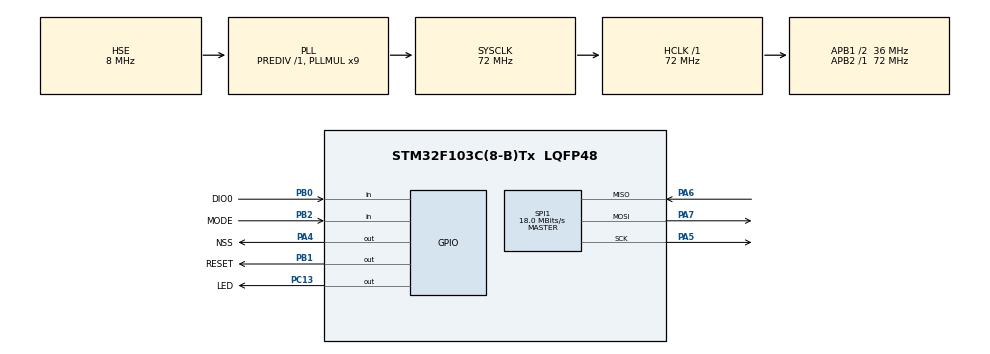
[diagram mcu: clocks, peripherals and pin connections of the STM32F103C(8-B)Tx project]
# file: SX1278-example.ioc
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Mcu.Family=STM32F1
Mcu.Name=STM32F103C(8-B)Tx
Mcu.Package=LQFP48
NVIC.PriorityGroup=NVIC_PRIORITYGROUP_4
PA13.Mode=Trace_Asynchronous_SW
PA13.Signal=SYS_JTMS-SWDIO
PA14.Mode=Trace_Asynchronous_SW
PA14.Signal=SYS_JTCK-SWCLK
PA4.GPIO_Label=NSS
PA4.PinState=GPIO_PIN_SET
PA4.Signal=GPIO_Output
PA5.Mode=Full_Duplex_Master
PA5.Signal=SPI1_SCK
PA6.Mode=Full_Duplex_Master
PA6.Signal=SPI1_MISO
PA7.Mode=Full_Duplex_Master
PA7.Signal=SPI1_MOSI
PB0.GPIO_Label=DIO0
PB0.Signal=GPIO_Input
PB1.GPIO_Label=RESET
PB1.PinState=GPIO_PIN_SET
PB1.Signal=GPIO_Output
PB2.GPIO_Label=MODE
PB2.GPIO_PuPd=GPIO_NOPULL
PB2.Signal=GPIO_Input
PB3.Mode=Trace_Asynchronous_SW
PB3.Signal=SYS_JTDO-TRACESWO
PC13-TAMPER-RTC.GPIO_Label=LED
PC13-TAMPER-RTC.PinState=GPIO_PIN_SET
PC13-TAMPER-RTC.Signal=GPIO_Output
PD0-OSC_IN.Mode=HSE-External-Oscillator
PD0-OSC_IN.Signal=RCC_OSC_IN
PD1-OSC_OUT.Mode=HSE-External-Oscillator
PD1-OSC_OUT.Signal=RCC_OSC_OUT
ProjectManager.HeapSize=0x200
ProjectManager.StackSize=0x400
ProjectManager.TargetToolchain=MDK-ARM V5
RCC.AHBFreq_Value=72000000
RCC.APB1CLKDivider=RCC_HCLK_DIV2
RCC.APB1Freq_Value=36000000
RCC.APB1TimFreq_Value=72000000
RCC.APB2Freq_Value=72000000
RCC.APB2TimFreq_Value=72000000
RCC.HCLKFreq_Value=72000000
RCC.PLLMUL=RCC_PLL_MUL9
RCC.PLLSourceVirtual=RCC_PLLSOURCE_HSE
RCC.SYSCLKFreq_VALUE=72000000
RCC.SYSCLKSource=RCC_SYSCLKSOURCE_PLLCLK
RCC.USBFreq_Value=72000000
SPI1.BaudRatePrescaler=SPI_BAUDRATEPRESCALER_4
SPI1.CalculateBaudRate=18.0 MBits/s
SPI1.Direction=SPI_DIRECTION_2LINES
SPI1.Mode=SPI_MODE_MASTER
SPI1.VirtualType=VM_MASTER
board=SX1278-example

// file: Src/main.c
/* USER CODE BEGIN Header */
/**
  ******************************************************************************
  * @file           : main.c
  * @brief          : Main program body
  ******************************************************************************
  ** This notice applies to any and all portions of this file
  * that are not between comment pairs USER CODE BEGIN and
  * USER CODE END. Other portions of this file, whether
  * inserted by the user or by software development tools
  * are owned by their respective copyright owners.
  *
  * COPYRIGHT(c) 2020 STMicroelectronics
  *
  * Redistribution and use in source and binary forms, with or without modification,
  * are permitted provided that the following conditions are met:
  *   1. Redistributions of source code must retain the above copyright notice,
  *      this list of conditions and the following disclaimer.
  *   2. Redistributions in binary form must reproduce the above copyright notice,
  *      this list of conditions and the following disclaimer in the documentation
  *      and/or other materials provided with the distribution.
  *   3. Neither the name of STMicroelectronics nor the names of its contributors
  *      may be used to endorse or promote products derived from this software
  *      without specific prior written permission.
  *
  * THIS SOFTWARE IS PROVIDED BY THE COPYRIGHT HOLDERS AND CONTRIBUTORS "AS IS"
  * AND ANY EXPRESS OR IMPLIED WARRANTIES, INCLUDING, BUT NOT LIMITED TO, THE
  * IMPLIED WARRANTIES OF MERCHANTABILITY AND FITNESS FOR A PARTICULAR PURPOSE ARE
  * DISCLAIMED. IN NO EVENT SHALL THE COPYRIGHT HOLDER OR CONTRIBUTORS BE LIABLE
  * FOR ANY DIRECT, INDIRECT, INCIDENTAL, SPECIAL, EXEMPLARY, OR CONSEQUENTIAL
  * DAMAGES (INCLUDING, BUT NOT LIMITED TO, PROCUREMENT OF SUBSTITUTE GOODS OR
  * SERVICES; LOSS OF USE, DATA, OR PROFITS; OR BUSINESS INTERRUPTION) HOWEVER
  * CAUSED AND ON ANY THEORY OF LIABILITY, WHETHER IN CONTRACT, STRICT LIABILITY,
  * OR TORT (INCLUDING NEGLIGENCE OR OTHERWISE) ARISING IN ANY WAY OUT OF THE USE
  * OF THIS SOFTWARE, EVEN IF ADVISED OF THE POSSIBILITY OF SUCH DAMAGE.
  *
  ******************************************************************************
  */
/* USER CODE END Header */

#include "main.h"
#include "spi.h"
#include "gpio.h"

/* USER CODE BEGIN Includes */
#include <stdio.h>
#include "SX1278.h"
/*The module has to be connected with the MCU board with following pins:
*
*	MCU pin		SX1278 pin	Description
*	--------------------------------------
*	PA4		NSS		SPI chip--select
*	PA5		SCK		SPI SCK
*	PA6		SO 		SPI MISO
*	PA7		SI		SPI MOSI
*	PB0		DIO0		LoRa interrupt indicator pin (for receiver mode)
*	PB1		RST		LoRa reset
*	VDD		VCC		+3V3
*	VSS		GND		GND
*	--------------------------------------
*/
/* USER CODE END Includes */

/* USER CODE BEGIN PV */
/* Private variables ---------------------------------------------------------*/

//struct __FILE {int handle;/* Add whatever you need here */};

//FILE __stdout;
//FILE __stdin;

//int fputc(int ch, FILE *f)
//{
  //ITM_SendChar(ch);
  //return(ch);
//}

 int fputc(int c, FILE *stream)
{
  return(ITM_SendChar(c));
}

//int _write(int file, char *ptr, int len)
	//{
		//int i;
		//for (i = 0; i < len; i++)
		//{
			//ITM_SendChar(*ptr++);
		//}
	//return len;
//}
/* USER CODE END PV */

void SystemClock_Config(void);
/* USER CODE BEGIN PFP */
/* Private function prototypes -----------------------------------------------*/

/* USER CODE END PFP */

/* USER CODE BEGIN 0 */

SX1278_hw_t SX1278_hw;
SX1278_t SX1278;

int master;
int ret;

char buffer[64];

int message;
int message_length;
/* USER CODE END 0 */

int main(void)
{

  /* MCU Configuration--------------------------------------------------------*/

  /* Reset of all peripherals, Initializes the Flash interface and the Systick. */
  HAL_Init();

  /* Configure the system clock */
  SystemClock_Config();

  /* Initialize all configured peripherals */
  MX_GPIO_Init();
  MX_SPI1_Init();
  /* USER CODE BEGIN 2 */
//checking PB2 pin is HIGH or LOW
printf("starting Programm \r\n"); // for testing debugging
master = HAL_GPIO_ReadPin(MODE_GPIO_Port, MODE_Pin);
	if (master == 1)
		{
			printf("Mode: Master\r\n");
			HAL_GPIO_WritePin(MODE_GPIO_Port, MODE_Pin, GPIO_PIN_RESET);
		}
	else
		{
			printf("Mode: Slave\r\n");
			HAL_GPIO_WritePin(MODE_GPIO_Port, MODE_Pin, GPIO_PIN_SET);
		}

	//initialize LoRa module
	SX1278_hw.dio0.port = DIO0_GPIO_Port;
	SX1278_hw.dio0.pin = DIO0_Pin;
	SX1278_hw.nss.port = NSS_GPIO_Port;
	SX1278_hw.nss.pin = NSS_Pin;
	SX1278_hw.reset.port = RESET_GPIO_Port;
	SX1278_hw.reset.pin = RESET_Pin;
	SX1278_hw.spi = &hspi1;

	SX1278.hw = &SX1278_hw;

	printf("Configuring LoRa module\r\n");
	SX1278_begin(&SX1278, SX1278_433MHZ, SX1278_POWER_17DBM, SX1278_LORA_SF_8,    //SX1278_begin(SX1278_t * module, uint8_t frequency, uint8_t power,
			SX1278_LORA_BW_20_8KHZ, 10);																																					//uint8_t LoRa_Rate, uint8_t LoRa_BW, uint8_t packetLength)

	printf("Done configuring LoRaModule\r\n");

	if (master == 1)
	{
		ret = SX1278_LoRaEntryTx(&SX1278, 16, 2000);
	} else

	{
		ret = SX1278_LoRaEntryRx(&SX1278, 16, 2000);
	}

  /* USER CODE END 2 */

  /* Infinite loop */
  while (1)
  {

    /* USER CODE BEGIN 3 */

		if (master == 1)
			{
			printf("Master ...\r\n");
			HAL_Delay(2500);
			printf("Sending package...\r\n");

			message_length = sprintf(buffer, "Hello %d", message);
			ret = SX1278_LoRaEntryTx(&SX1278, message_length, 2000);
			printf("Entry: %d\r\n", ret);

			printf("Sending %s\r\n", buffer);
			ret = SX1278_LoRaTxPacket(&SX1278, (uint8_t *) buffer, message_length,
					2000);
			message += 1;

			printf("Transmission: %d\r\n", ret);
			printf("Package sent...\r\n");

		}
		else {
			printf("Slave ...\r\n");
			HAL_Delay(1000);
			printf("Receiving package...\r\n");

			ret = SX1278_LoRaRxPacket(&SX1278);
			printf("Received: %d\r\n", ret);
			if (ret > 0) {
				SX1278_read(&SX1278, (uint8_t *) buffer, ret);
				printf("Content (%d): %s\r\n", ret, buffer);
			}
			printf("Package received ...\r\n");

		}

  }

  /* USER CODE END 3 */
}

void SystemClock_Config(void)
{
  RCC_OscInitTypeDef RCC_OscInitStruct = {0};
  RCC_ClkInitTypeDef RCC_ClkInitStruct = {0};

  /**Initializes the CPU, AHB and APB busses clocks
  */
  RCC_OscInitStruct.OscillatorType = RCC_OSCILLATORTYPE_HSE;
  RCC_OscInitStruct.HSEState = RCC_HSE_ON;
  RCC_OscInitStruct.HSEPredivValue = RCC_HSE_PREDIV_DIV1;
  RCC_OscInitStruct.HSIState = RCC_HSI_ON;
  RCC_OscInitStruct.PLL.PLLState = RCC_PLL_ON;
  RCC_OscInitStruct.PLL.PLLSource = RCC_PLLSOURCE_HSE;
  RCC_OscInitStruct.PLL.PLLMUL = RCC_PLL_MUL9;
  if (HAL_RCC_OscConfig(&RCC_OscInitStruct) != HAL_OK)
  {
    Error_Handler();
  }
  /**Initializes the CPU, AHB and APB busses clocks
  */
  RCC_ClkInitStruct.ClockType = RCC_CLOCKTYPE_HCLK|RCC_CLOCKTYPE_SYSCLK
                              |RCC_CLOCKTYPE_PCLK1|RCC_CLOCKTYPE_PCLK2;
  RCC_ClkInitStruct.SYSCLKSource = RCC_SYSCLKSOURCE_PLLCLK;
  RCC_ClkInitStruct.AHBCLKDivider = RCC_SYSCLK_DIV1;
  RCC_ClkInitStruct.APB1CLKDivider = RCC_HCLK_DIV2;
  RCC_ClkInitStruct.APB2CLKDivider = RCC_HCLK_DIV1;

  if (HAL_RCC_ClockConfig(&RCC_ClkInitStruct, FLASH_LATENCY_2) != HAL_OK)
  {
    Error_Handler();
  }
}

void Error_Handler(void)
{
  while(1)
  {
  }
}

/************************ (C) COPYRIGHT STMicroelectronics *****END OF FILE****/
